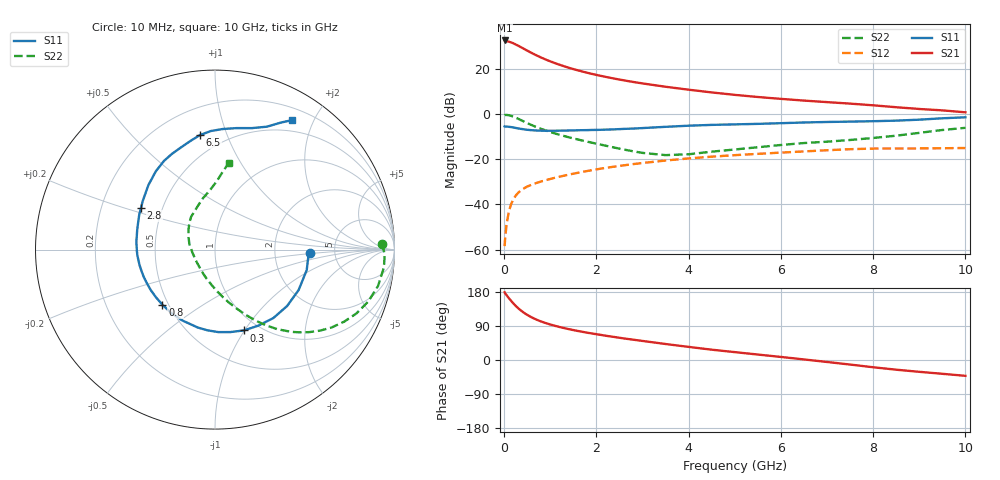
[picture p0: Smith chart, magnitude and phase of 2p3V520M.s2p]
! (c) 2009  Infineon Technologies AG, Munich
! Infineon Technologies  Discrete & RF Semiconductors
! BFP420
! VCE =  3.5 V,  IC =  20 mA
! Common Emitter S-Parameters:  Nov 2009
# GHz  S  MA  R  50
!  f  S11  S21  S12  S22
! GHz  MAG  ANG  MAG  ANG  MAG  ANG  MAG  ANG
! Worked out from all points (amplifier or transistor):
!   46 points, 10 MHz to 10 GHz, reference 50 ohm
!   highest |S21| = 32.4 dB at 10 MHz (marker M1)
!   |S21| within 3 dB of that: start of sweep to 366.5 MHz
!   unconditionally stable (mu >= 1): start of sweep to 13.58 MHz; 1.841 GHz to end of sweep
!   at 300 MHz: K = 0.33, MSG = 32.5 dB, |S12| = -34.9 dB
!   at 1.7 GHz: K = 0.97, MSG = 22.1 dB, |S12| = -25.6 dB
!   at 10 GHz: K = 1.07, MAG = 6.3 dB, |S12| = -15.1 dB
!   lowest NFmin = 1.23 dB at 900 MHz
!   S11 on the Smith chart (normalised r, x): 10 MHz: 3.22, -0.16; 300 MHz: 0.85, -0.99; 800 MHz: 0.46, -0.35; 2.8 GHz: 0.38, +0.23; 6.5 GHz: 0.37, +0.81; 10 GHz: 0.35, +1.70
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0.01  0.5275 -1.9  41.62 178.6  0.0012 57.6  0.9337 2.0
0.02  0.5214 -4.5  40.49 176.2  0.0017 76.3  0.9456 -1.9
0.05  0.5236 -12.6  40.07 171.4  0.0035 76.8  0.9464 -6.0
0.1  0.5175 -25.8  39.22 163.7  0.0069 76.0  0.9306 -12.6
0.15  0.5101 -38.0  37.73 156.2  0.0101 73.0  0.9016 -18.7
0.2  0.5011 -49.5  35.99 149.3  0.013 70.0  0.8645 -24.3
0.3  0.4781 -70.3  32.04 137.1  0.0179 64.4  0.7807 -33.8
0.4  0.46 -87.7  28.23 127.2  0.0216 60.3  0.6981 -41.2
0.5  0.4448 -102.4  24.82 119.1  0.0248 57.7  0.6246 -47.2
0.6  0.4347 -114.6  21.95 112.3  0.0274 55.8  0.5624 -52.0
0.8  0.4245 -133.6  17.5 101.7  0.0321 54.0  0.4664 -59.3
1  0.4231 -148.0  14.39 93.7  0.0365 53.3  0.3971 -65.2
1.2  0.4251 -159.0  12.12 87.1  0.041 52.9  0.3448 -70.4
1.7  0.4356 -179.5  8.562 74.3  0.0524 51.5  0.2566 -82.5
2.2  0.4476 165.5  6.538 64.1  0.0641 49.0  0.1981 -95.4
2.8  0.4732 150.5  5.047 53.6  0.0777 44.9  0.1487 -116.5
3.5  0.5167 135.9  3.959 42.2  0.0931 39.2  0.1227 -150.1
5.5  0.6004 108.3  2.352 14.4  0.1308 21.6  0.183 143.9
6.5  0.6441 97.3  1.96 1.5  0.1481 12.8  0.2266 125.9
7  0.661 92.0  1.813 -5.2  0.1572 8.1  0.2427 117.7
8.5  0.7074 73.1  1.399 -25.6  0.172 -8.7  0.3295 95.3
10  0.8388 59.3  1.08 -41.8  0.176 -19.9  0.4912 80.8
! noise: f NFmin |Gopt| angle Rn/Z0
0.9  1.23  0.16  -154  0.13
1.8  1.51  0.24  -144  0.13
2.4  1.66  0.22  -141  0.15
3  1.69  0.3  -132  0.16
4  1.82  0.42  -115  0.23
5  2.28  0.48  -96  0.37
6  2.65  0.52  -86  0.56
